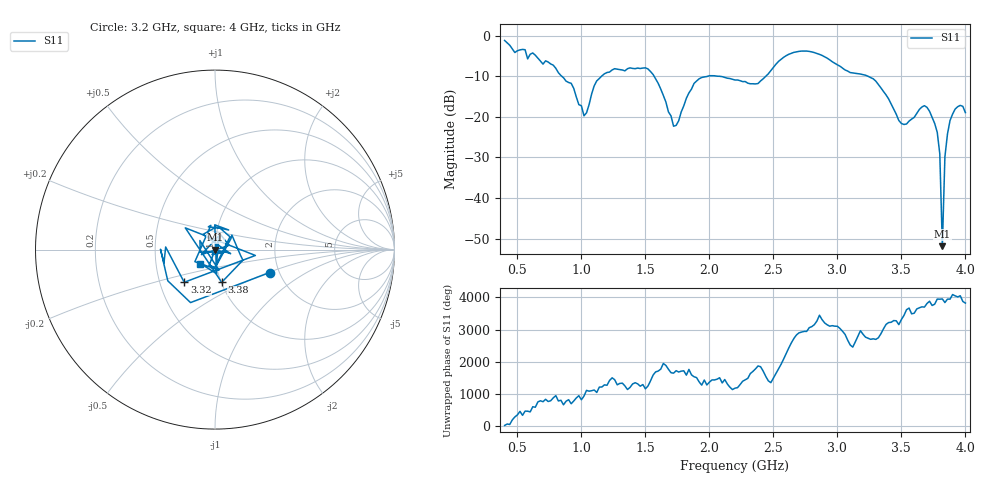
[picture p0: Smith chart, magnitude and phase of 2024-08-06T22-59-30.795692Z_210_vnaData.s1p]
!Created with skrf (http://scikit-rf.org).
# Hz S RI R 50.0
!freq ReS11 ImS11
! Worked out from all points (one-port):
!   181 points, 400 MHz to 4 GHz, reference 50 ohm
!   lowest |S11| = -51.9 dB at 3.82 GHz (marker M1), VSWR 1.01, Z = 50.3 - j0.0352 ohm
!   |S11| at or under -10 dB: 1.568 GHz to 1.988 GHz (420.4 MHz wide, 23.6 % of centre); 2.066 GHz to 2.441 GHz (374.6 MHz wide, 16.6 % of centre); 3.238 GHz to end of sweep (the widest 3 of 4)
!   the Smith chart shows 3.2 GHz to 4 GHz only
!   S11 on the Smith chart (normalised r, x): 3.2 GHz: 1.78, -0.51; 3.32 GHz: 0.67, -0.26; 3.38 GHz: 1.01, -0.38; 4 GHz: 0.84, -0.13
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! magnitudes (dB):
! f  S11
! 400 MHz  -1.2
! 860 MHz  -10.4
! 920 MHz  -11.7
! 1.02 GHz  -19.8
! 1.12 GHz  -11.1
! 1.3 GHz  -8.4
! 1.52 GHz  -8.2
! 1.6 GHz  -11.8
! 1.72 GHz  -22.3
! 1.76 GHz  -21.0
! 1.92 GHz  -10.6
! 2.2 GHz  -10.9
! 2.38 GHz  -11.8
! 2.66 GHz  -4.1
! 3.1 GHz  -9.1
! 3.2 GHz  -9.6
! 3.32 GHz  -12.0
! 3.38 GHz  -14.6
! 3.5 GHz  -21.6
! 3.56 GHz  -21.1
! 3.68 GHz  -17.3
! 3.78 GHz  -23.8
! 3.8 GHz  -29.1
! 3.82 GHz  -51.9
! 3.84 GHz  -29.9
! 3.86 GHz  -24.2
! 3.92 GHz  -18.1
! 4 GHz  -19.0
